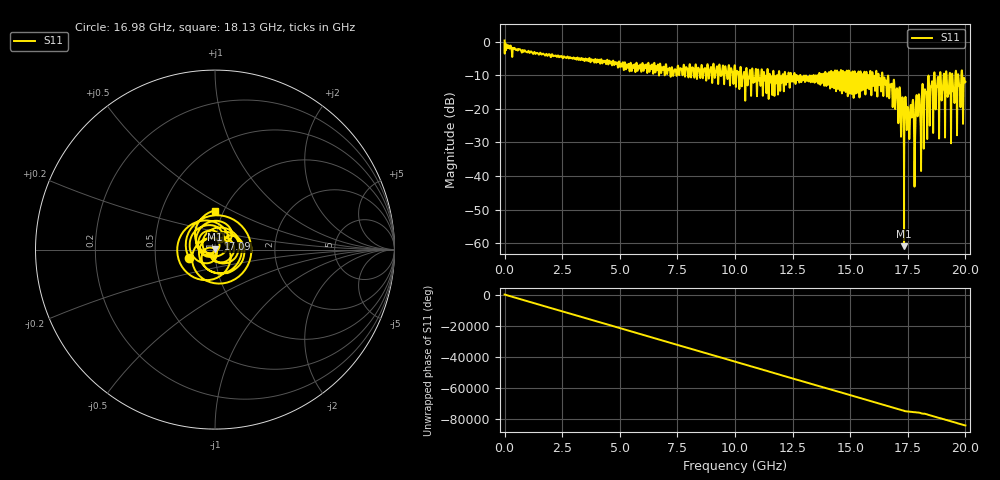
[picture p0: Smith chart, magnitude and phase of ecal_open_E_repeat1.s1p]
! MS46122B
! 2250307/22442219
! 7/26/2025 10:28:55 AM
! C:\USERS\SPARKY\DOCUMENTS\VNA_DATA\JULY26_2025\295K\ECAL_OPEN_E_REPEAT1.S1P
! CHANNEL.1
! TR.MEASUREMENT
! RAW.DATA
# GHZ S RI R 50.0
! FREQ.GHZ  S11RE  S11IM
!; PortSelection: Port_1
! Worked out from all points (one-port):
!   10001 points, 1 MHz to 20 GHz, reference 50 ohm
!   lowest |S11| = -60.9 dB at 17.34 GHz (marker M1), VSWR 1.00, Z = 50.1 + j0.0716 ohm
!   |S11| at or under -10 dB: 12.84 GHz to 13.41 GHz (564.4 MHz wide, 4.3 % of centre); 16.4 GHz to 18.64 GHz (2.233 GHz wide, 12.7 % of centre); 18.67 GHz to 18.89 GHz (225 MHz wide, 1.2 % of centre) (the widest 3 of 86)
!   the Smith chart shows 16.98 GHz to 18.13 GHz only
!   S11 on the Smith chart (normalised r, x): 16.98 GHz: 0.74, -0.07; 17.09 GHz: 1.03, +0.12; 18.13 GHz: 0.91, +0.41
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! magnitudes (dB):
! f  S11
! 1 MHz  0.4
! 2.501 GHz  -4.5
! 5.001 GHz  -7.0
! 7.501 GHz  -8.0
! 10 GHz  -7.3
! 12.5 GHz  -10.3
! 15 GHz  -11.3
! 16.31 GHz  -11.1
! 16.98 GHz  -16.4
! 17.09 GHz  -24.3
! 17.22 GHz  -24.4
! 17.27 GHz  -16.5
! 17.34 GHz  -60.9
! 17.5 GHz  -19.4
! 17.67 GHz  -22.6
! 17.74 GHz  -17.9
! 17.85 GHz  -18.3
! 17.94 GHz  -21.5
! 18 GHz  -16.5
! 18.13 GHz  -13.2
! 18.2 GHz  -22.4
! 18.27 GHz  -15.0
! 18.32 GHz  -18.5
! 18.73 GHz  -15.8
! 18.78 GHz  -12.4
! 18.99 GHz  -15.4
! 19.45 GHz  -12.3
! 20 GHz  -12.0
